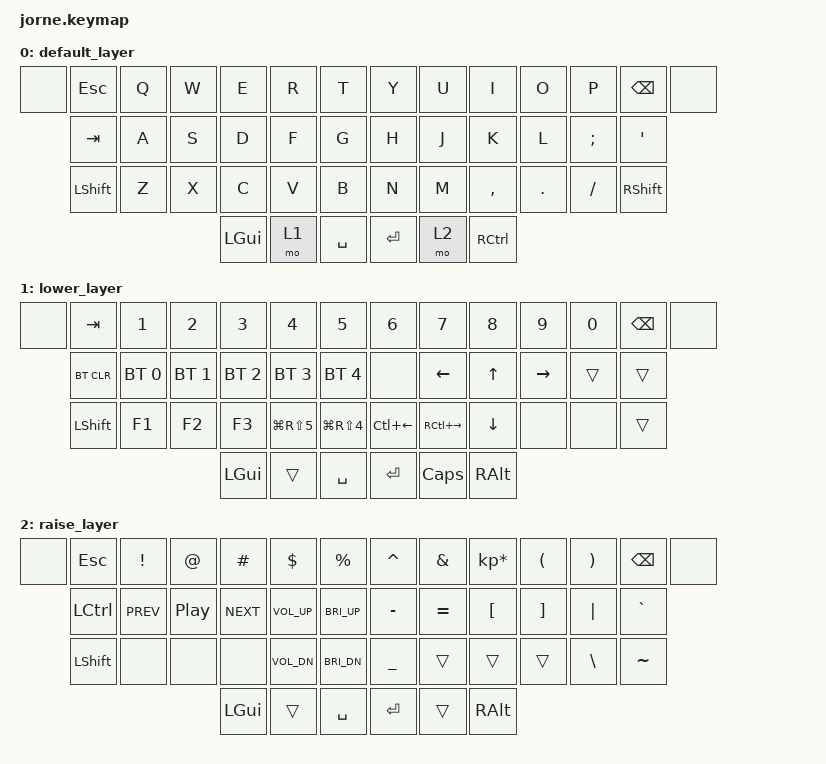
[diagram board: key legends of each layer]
/*
 * Copyright (c) 2020 The ZMK Contributors
 *
 * SPDX-License-Identifier: MIT
 */

#include <behaviors.dtsi>
#include <dt-bindings/zmk/bt.h>
#include <dt-bindings/zmk/keys.h>

/ {
    keymap {
        compatible = "zmk,keymap";

        default_layer {
            // -----------------------------------------------------------------------------------------
            // |  TAB |  Q  |  W  |  E  |  R  |  T  |   |  Y  |  U   |  I  |  O  |  P  | BKSP |
            // | CTRL |  A  |  S  |  D  |  F  |  G  |   |  H  |  J   |  K  |  L  |  ;  |  '   |
            // | SHFT |  Z  |  X  |  C  |  V  |  B  |   |  N  |  M   |  ,  |  .  |  /  | SHFT |
            //                    | GUI | LWR | SPC |   | ENT | RSE  | ALT |

            bindings = <
&none  &kp ESCAPE  &kp Q  &kp W  &kp E     &kp R  &kp T      &kp Y      &kp U  &kp I              &kp O    &kp P     &kp BSPC   &none
       &kp TAB     &kp A  &kp S  &kp D     &kp F  &kp G      &kp H      &kp J  &kp K              &kp L    &kp SEMI  &kp SQT
       &kp LSHFT   &kp Z  &kp X  &kp C     &kp V  &kp B      &kp N      &kp M  &kp COMMA          &kp DOT  &kp FSLH  &kp RSHFT
                                 &kp LGUI  &mo 1  &kp SPACE  &kp ENTER  &mo 2  &kp RIGHT_CONTROL
            >;
        };

        lower_layer {
            // -----------------------------------------------------------------------------------------
            // |  ESC |  1  |  2  |  3  |  4  |  5  |   |  6  |  7  |  8  |  9  |  0  | BKSP |
            // | BTCLR| BT1 | BT2 | BT3 | BT4 | BT5 |   | LFT | DWN |  UP | RGT |     |      |
            // | SHFT |     |     |     |     |     |   |     |     |     |     |     |      |
            //                    | GUI |     | SPC |   | ENT |     | ALT |

            bindings = <
&none  &kp TAB     &kp N1        &kp N2        &kp N3        &kp N4                &kp N5                &kp N6        &kp N7         &kp N8    &kp N9     &kp N0  &kp BSPC  &none
       &bt BT_CLR  &bt BT_SEL 0  &bt BT_SEL 1  &bt BT_SEL 2  &bt BT_SEL 3          &bt BT_SEL 4          &none         &kp LEFT       &kp UP    &kp RIGHT  &trans  &trans
       &kp LSHFT   &kp F1        &kp F2        &kp F3        &kp LG(RS(NUMBER_5))  &kp LG(RS(NUMBER_4))  &kp LC(LEFT)  &kp RC(RIGHT)  &kp DOWN  &none      &none   &trans
                                               &kp LGUI      &trans                &kp SPACE             &kp ENTER     &kp CAPSLOCK   &kp RALT
            >;
        };

        raise_layer {
            // -----------------------------------------------------------------------------------------
            // |  ESC |  !  |  @  |  #  |  $  |  %  |   |  ^  |  &  |  *  |  (  |  )  | BKSP |
            // | CTRL |     |     |     |     |     |   |  -  |  =  |  {  |  }  | "|" |  `   |
            // | SHFT |     |     |     |     |     |   |  _  |  +  |  [  |  ]  |  \  |  ~   | // TODO: Fix this row when &mkp is committed
            //                    | GUI |     | SPC |   | ENT |     | ALT |

            bindings = <
&none  &kp ESC    &kp EXCL    &kp AT    &kp HASH    &kp DLLR      &kp PRCNT     &kp CARET       &kp AMPS   &kp KP_MULTIPLY  &kp LPAR  &kp RPAR  &kp BSPC   &none
       &kp LCTRL  &kp C_PREV  &kp C_PP  &kp C_NEXT  &kp C_VOL_UP  &kp C_BRI_UP  &kp MINUS       &kp EQUAL  &kp LBKT         &kp RBKT  &kp PIPE  &kp GRAVE
       &kp LSHFT  &none       &none     &none       &kp C_VOL_DN  &kp C_BRI_DN  &kp UNDERSCORE  &trans     &trans           &trans    &kp BSLH  &kp TILDE
                                        &kp LGUI    &trans        &kp SPACE     &kp ENTER       &trans     &kp RALT
            >;
        };
    };
};
